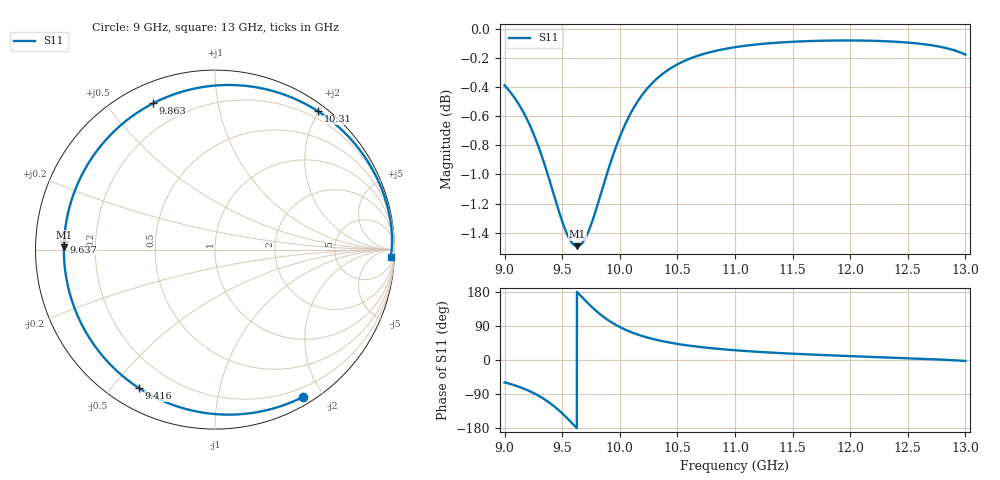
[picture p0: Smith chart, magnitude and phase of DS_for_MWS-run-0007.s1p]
! TOUCHSTONE file generated by CST DESIGN STUDIO
! Date and time: Tue Feb  4 17:59:51 2025
! Project name: C:\Work\MatlabApps\UnitCellOptimizationMatlab\CST\unitcell.cst
! Tree item: Tasks\Sweep1\SPara1\S-Parameters
! Header version: 2024
! Port assignment regex: !\s*Touchstone port\s*([0-9]+)\s*=\s*(CST MWS port|CST DES external port|CST DES block port)\s*(.+)\s* \(\"(.*)\"\)(\s*mode\s*([0-9]+))?.*
! Touchstone port assignment:
! Touchstone port 1 = CST DES external port 1 ("")
# GHz S MA R 50
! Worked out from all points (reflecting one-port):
!   4001 points, 9 GHz to 13 GHz, reference 50 ohm
!   lowest |S11| = -1.5 dB at 9.63 GHz (marker M1), VSWR 11.66, Z = 4.29 + j0.375 ohm
!   phase of S11 starts at -59 deg and turns -304 deg over the sweep
!   S11 on the Smith chart (normalised r, x): 9 GHz: 0.09, -1.76; 9.416 GHz: 0.09, -0.59; 9.637 GHz: 0.09, +0.03; 9.863 GHz: 0.09, +0.66; 10.31 GHz: 0.10, +1.98; 13 GHz: 17, -37
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9  0.9562 -59.0
9.057  0.9504 -63.9
9.131  0.941 -71.4
9.258  0.9188 -88.2
9.342  0.8995 -102.9
9.416  0.8801 -118.9
9.458  0.869 -129.3
9.5  0.8587 -140.8
9.568  0.8462 -161.1
9.63  0.8421 179.1
9.637  0.8421 176.9
9.694  0.8464 158.8
9.757  0.8579 140.0
9.81  0.8709 125.6
9.863  0.885 112.9
9.927  0.9014 99.6
10  0.9181 87.0
10.072  0.9317 76.8
10.147  0.9431 68.0
10.227  0.9527 60.3
10.315  0.9608 53.4
10.5  0.9723 42.5
10.72  0.9801 33.6
11  0.9855 25.7
11.5  0.9898 16.6
12  0.9908 10.3
12.5  0.9892 4.7
13  0.9798 -2.5
